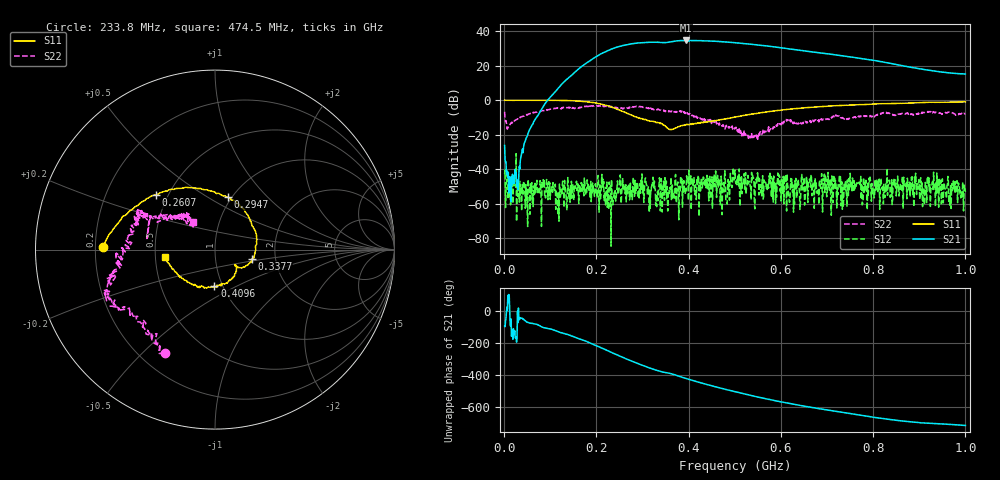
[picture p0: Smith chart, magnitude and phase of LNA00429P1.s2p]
! Created with skrf 1.9.0 (http://scikit-rf.org).
# Hz S RI R 50.0
!freq ReS11 ImS11 ReS21 ImS21 ReS12 ImS12 ReS22 ImS22
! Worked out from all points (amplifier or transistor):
!   1001 points, 1 MHz to 1 GHz, reference 50 ohm
!   highest |S21| = 34.7 dB at 394.6 MHz (marker M1)
!   |S21| within 3 dB of that: 256.7 MHz to 562.9 MHz (306.2 MHz wide, 74.7 % of centre)
!   unconditionally stable (mu >= 1): 4.092 MHz to 59.54 MHz; 204.3 MHz to 298.6 MHz; 298.9 MHz to end of sweep (the widest 3 of 24)
!   at 166.8 MHz: K = 1.21, MAG = 30.8 dB, |S12| = -47.8 dB
!   at 500.5 MHz: K = 1.16, MAG = 34.5 dB, |S12| = -40.6 dB
!   at 1 GHz: K = 6.60, MAG = 23.1 dB, |S12| = -53.2 dB
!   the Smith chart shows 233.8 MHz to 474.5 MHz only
!   S11 on the Smith chart (normalised r, x): 233.8 MHz: 0.23, +0.01; 260.7 MHz: 0.43, +0.33; 294.7 MHz: 0.96, +0.62; 337.7 MHz: 1.51, -0.16; 409.6 MHz: 0.91, -0.39; 474.5 MHz: 0.56, -0.05
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1000000  1.005 0.0133  -0.00196 -0.0488  -0.00705 0.00169  0.3124 0.3391
1.08892e8  0.5298 -0.8433  -0.7822 -1.455  0.00209 -0.00133  0.4254 -0.3882
1.67833e8  -0.2172 -0.9073  -9.5 -0.5899  -0.00304 0.00271  0.0353 -0.6262
2.06794e8  -0.6507 -0.4443  -15.49 14.33  0.00238 0.000805  -0.1845 -0.6543
2.33767e8  -0.6258 0.0134  -6.295 30.21  0.00113 -0.000693  -0.2811 -0.5761
2.6074e8  -0.3286 0.3055  14.64 36.66  0.00184 -0.00136  -0.4349 -0.4009
2.94706e8  0.0714 0.2913  40.62 22.29  -0.00373 0.000868  -0.6226 -0.229
3.14686e8  0.2027 0.1472  47.57 5.903  -5.81e-05 0.000548  -0.557 -0.1437
3.34666e8  0.2226 -0.0243  46.88 -9.864  -0.0025 0.000269  -0.5489 -0.0199
3.37663e8  0.2053 -0.0517  46 -11.69  0.00344 -0.00202  -0.5161 -0.0542
3.69631e8  0.1193 -0.0944  41.99 -30.67  -0.000879 0.00115  -0.4448 0.1408
3.94606e8  0.0719 -0.1804  27.57 -46.65  -0.0014 0.00188  -0.4016 0.1772
4.09591e8  -0.0037 -0.2036  16.68 -51.31  0.00271 0.00148  -0.3106 0.1716
4.39561e8  -0.1555 -0.1823  -5.94 -52.24  0.00303 0.00589  -0.1873 0.1685
4.74526e8  -0.2766 -0.042  -27.17 -41.49  0.00196 0.00304  -0.123 0.1522
5.005e8  -0.3132 0.0972  -36.74 -28.9  0.000386 0.00936  -0.0973 0.1252
5.39461e8  -0.2498 0.3146  -40.61 -8.635  0.00534 0.000817  -0.0973 -0.00175
5.88412e8  -0.054 0.4911  -33.15 10.92  0.000804 0.000632  -0.1506 -0.0624
6.67333e8  0.3227 0.536  -12.6 21.76  -0.000735 -0.00155  -0.2619 -0.0233
7.53247e8  0.6245 0.372  3.098 17.53  0.00169 -0.00273  -0.299 0.0517
8.34166e8  0.7839 0.1474  8.292 8.61  -0.00367 0.003  -0.4054 0.1069
1e9  0.812 -0.3895  5.72 0.8049  -0.00163 -0.00145  -0.1548 0.3668
